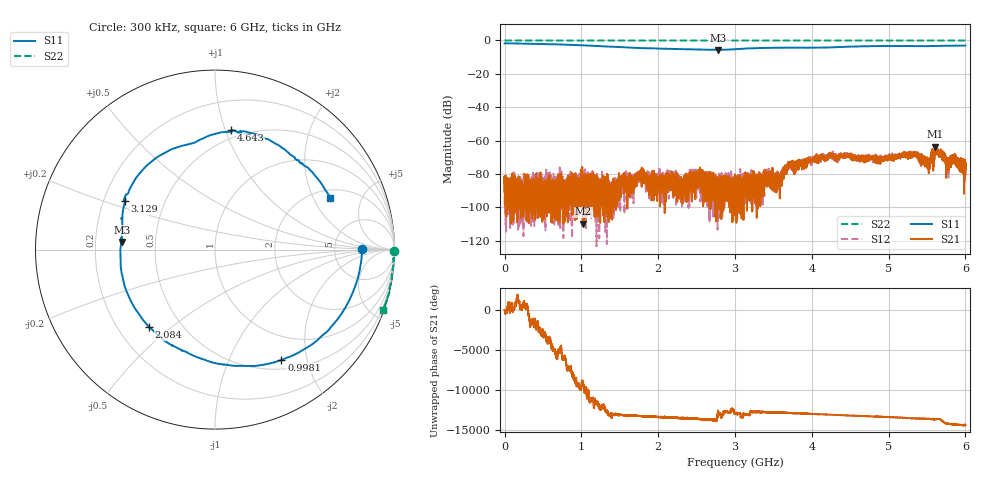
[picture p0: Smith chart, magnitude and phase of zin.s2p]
!  8/10/2020  01:51:11
! Ref Plane: 0.000 mm
# MHZ S MA R  50
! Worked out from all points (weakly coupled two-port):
!   10001 points, 300 kHz to 6 GHz, reference 50 ohm
!   highest |S21| = -63.65 dB at 5.61 GHz (marker M1); lowest = -110.0 dB at 1.027 GHz (marker M2)
!   lowest |S11| = -5.7 dB at 2.781 GHz (marker M3), VSWR 3.18, Z = 15.8 + j1.81 ohm
!   |S11| at or under -10 dB: nowhere
!   |S22| runs from -0.1 to 0.0 dB; largest |S21 - S12| = 0.00023
!   S11 on the Smith chart (normalised r, x): 300 kHz: 10, +0; 998.1 MHz: 0.62, -1.59; 2.084 GHz: 0.33, -0.42; 3.129 GHz: 0.29, +0.23; 4.643 GHz: 0.43, +1.05; 6 GHz: 2.39, +2.72
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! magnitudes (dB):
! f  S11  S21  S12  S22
! 300 kHz  -1.7  -84.3  -88.2  0.0
! 998.1 MHz  -2.9  -83.0  -93.2  0.0
! 1 GHz  -2.9  -81.9  -87.8  0.0
! 1.027 GHz  -2.9  -110.0  -89.7  0.0
! 2.001 GHz  -4.8  -86.5  -87.9  0.0
! 2.084 GHz  -5.0  -84.3  -86.7  0.0
! 2.781 GHz  -5.7  -85.4  -84.9  0.0
! 3 GHz  -5.3  -80.4  -89.9  0.0
! 3.129 GHz  -4.9  -89.9  -93.9  0.0
! 3.591 GHz  -4.3  -82.2  -85.7  0.0
! 3.709 GHz  -4.3  -73.5  -74.5  0.0
! 4 GHz  -4.4  -72.7  -70.0  0.0
! 4.248 GHz  -4.1  -69.1  -69.2  0.0
! 4.643 GHz  -3.5  -71.4  -71.1  0.0
! 5 GHz  -3.4  -70.3  -69.7  0.0
! 5.352 GHz  -3.4  -68.7  -68.9  0.0
! 5.515 GHz  -3.4  -74.4  -74.5  0.0
! 5.61 GHz  -3.3  -63.7  -66.1  -0.1
! 5.701 GHz  -3.2  -69.6  -69.4  0.0
! 5.787 GHz  -3.2  -74.8  -72.9  0.0
! 5.851 GHz  -3.1  -70.9  -69.7  0.0
! 6 GHz  -3.1  -74.0  -72.5  0.0
